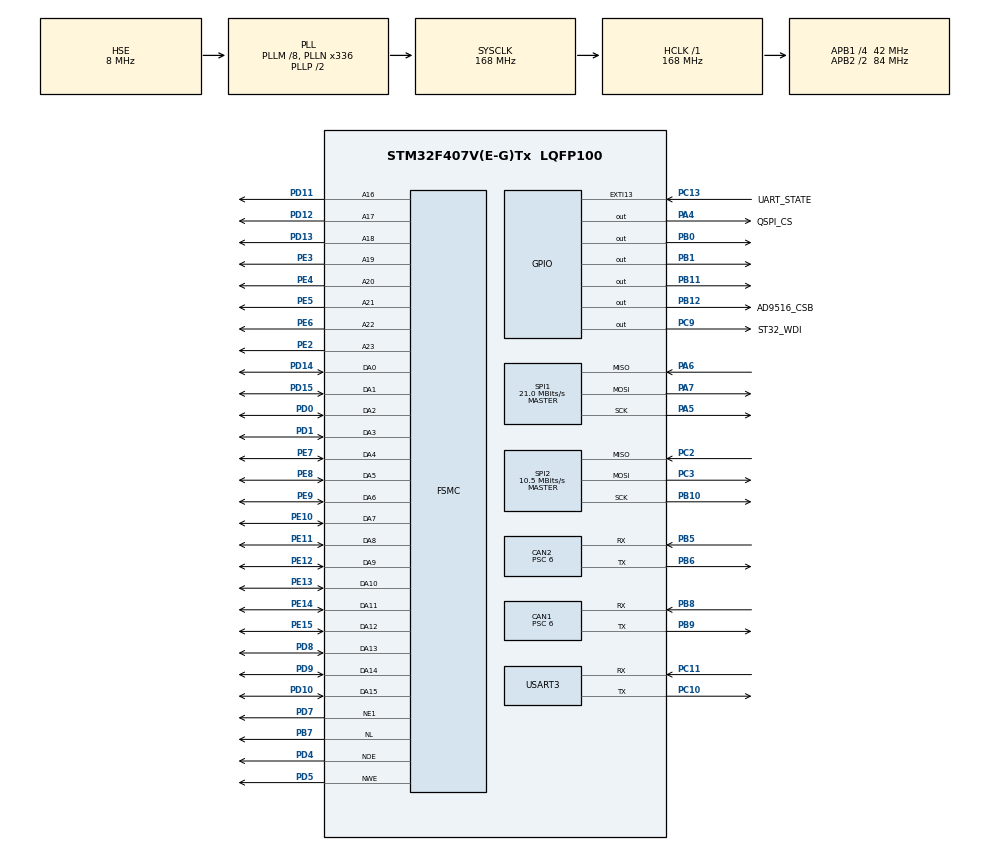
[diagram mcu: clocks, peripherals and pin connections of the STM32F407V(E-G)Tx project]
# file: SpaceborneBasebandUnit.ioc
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CAN1.ABOM=DISABLE
CAN1.BS1=CAN_BS1_7TQ
CAN1.BS2=CAN_BS2_6TQ
CAN1.CalculateBaudRate=500000
CAN1.CalculateTimeBit=2000
CAN1.CalculateTimeQuantum=142.85714285714286
CAN1.Prescaler=6
CAN1.SJW=CAN_SJW_1TQ
CAN1.TTCM=DISABLE
CAN2.BS1=CAN_BS1_7TQ
CAN2.BS2=CAN_BS2_6TQ
CAN2.CalculateBaudRate=500000
CAN2.CalculateTimeBit=2000
CAN2.CalculateTimeQuantum=142.85714285714286
CAN2.Prescaler=6
Dma.Request0=SPI2_RX
Dma.Request1=SPI1_RX
Dma.Request2=USART3_TX
Dma.Request3=USART3_RX
Dma.SPI1_RX.1.Direction=DMA_PERIPH_TO_MEMORY
Dma.SPI1_RX.1.FIFOMode=DMA_FIFOMODE_DISABLE
Dma.SPI1_RX.1.Instance=DMA2_Stream0
Dma.SPI1_RX.1.MemDataAlignment=DMA_MDATAALIGN_BYTE
Dma.SPI1_RX.1.MemInc=DMA_MINC_ENABLE
Dma.SPI1_RX.1.Mode=DMA_CIRCULAR
Dma.SPI1_RX.1.PeriphDataAlignment=DMA_PDATAALIGN_BYTE
Dma.SPI1_RX.1.PeriphInc=DMA_PINC_DISABLE
Dma.SPI1_RX.1.Priority=DMA_PRIORITY_LOW
Dma.SPI2_RX.0.Direction=DMA_PERIPH_TO_MEMORY
Dma.SPI2_RX.0.FIFOMode=DMA_FIFOMODE_DISABLE
Dma.SPI2_RX.0.Instance=DMA1_Stream3
Dma.SPI2_RX.0.MemDataAlignment=DMA_MDATAALIGN_BYTE
Dma.SPI2_RX.0.MemInc=DMA_MINC_ENABLE
Dma.SPI2_RX.0.Mode=DMA_CIRCULAR
Dma.SPI2_RX.0.PeriphDataAlignment=DMA_PDATAALIGN_BYTE
Dma.SPI2_RX.0.PeriphInc=DMA_PINC_DISABLE
Dma.SPI2_RX.0.Priority=DMA_PRIORITY_LOW
Dma.USART3_RX.3.Direction=DMA_PERIPH_TO_MEMORY
Dma.USART3_RX.3.FIFOMode=DMA_FIFOMODE_ENABLE
Dma.USART3_RX.3.FIFOThreshold=DMA_FIFO_THRESHOLD_FULL
Dma.USART3_RX.3.Instance=DMA1_Stream1
Dma.USART3_RX.3.MemBurst=DMA_MBURST_SINGLE
Dma.USART3_RX.3.MemDataAlignment=DMA_MDATAALIGN_BYTE
Dma.USART3_RX.3.MemInc=DMA_MINC_ENABLE
Dma.USART3_RX.3.Mode=DMA_NORMAL
Dma.USART3_RX.3.PeriphBurst=DMA_PBURST_SINGLE
Dma.USART3_RX.3.PeriphDataAlignment=DMA_PDATAALIGN_BYTE
Dma.USART3_RX.3.PeriphInc=DMA_PINC_DISABLE
Dma.USART3_RX.3.Priority=DMA_PRIORITY_LOW
Dma.USART3_TX.2.Direction=DMA_MEMORY_TO_PERIPH
Dma.USART3_TX.2.FIFOMode=DMA_FIFOMODE_ENABLE
Dma.USART3_TX.2.FIFOThreshold=DMA_FIFO_THRESHOLD_FULL
Dma.USART3_TX.2.Instance=DMA1_Stream4
Dma.USART3_TX.2.MemBurst=DMA_MBURST_SINGLE
Dma.USART3_TX.2.MemDataAlignment=DMA_MDATAALIGN_BYTE
Dma.USART3_TX.2.MemInc=DMA_MINC_ENABLE
Dma.USART3_TX.2.Mode=DMA_NORMAL
Dma.USART3_TX.2.PeriphBurst=DMA_PBURST_SINGLE
Dma.USART3_TX.2.PeriphDataAlignment=DMA_PDATAALIGN_BYTE
Dma.USART3_TX.2.PeriphInc=DMA_PINC_DISABLE
Dma.USART3_TX.2.Priority=DMA_PRIORITY_LOW
FSMC.AddressHoldTime1=2
FSMC.AddressSetupTime1=4
FSMC.BusTurnAroundDuration1=7
FSMC.DataSetupTime1=15
FSMC.NSMemoryDataWidth1=FSMC_NORSRAM_MEM_BUS_WIDTH_16
FSMC.WriteOperation1=FSMC_WRITE_OPERATION_ENABLE
Mcu.Family=STM32F4
Mcu.Name=STM32F407V(E-G)Tx
Mcu.Package=LQFP100
NVIC.CAN1_RX0_IRQn=true\:0\:0\:false\:true\:true\:1\:true\:true\:true
NVIC.CAN2_RX1_IRQn=true\:0\:0\:false\:true\:true\:4\:true\:true\:true
NVIC.DMA1_Stream1_IRQn=true\:0\:0\:false\:false\:true\:false\:true\:true
NVIC.DMA1_Stream3_IRQn=true\:0\:0\:false\:true\:true\:2\:false\:true\:true
NVIC.DMA1_Stream4_IRQn=true\:0\:0\:false\:false\:true\:false\:true\:true
NVIC.DMA2_Stream0_IRQn=true\:0\:0\:false\:true\:true\:3\:false\:true\:true
NVIC.EXTI15_10_IRQn=true\:0\:0\:false\:true\:true\:7\:true\:true\:true
NVIC.PriorityGroup=NVIC_PRIORITYGROUP_4
NVIC.RCC_IRQn=true\:0\:0\:false\:true\:true\:6\:true\:false\:true
NVIC.USART3_IRQn=true\:0\:0\:false\:true\:true\:5\:true\:true\:true
PA13.Mode=Serial_Wire
PA13.Signal=SYS_JTMS-SWDIO
PA14.Mode=Serial_Wire
PA14.Signal=SYS_JTCK-SWCLK
PA4.GPIO_Label=QSPI_CS
PA4.PinState=GPIO_PIN_SET
PA4.Signal=GPIO_Output
PA5.Mode=Full_Duplex_Master
PA5.Signal=SPI1_SCK
PA6.Mode=Full_Duplex_Master
PA6.Signal=SPI1_MISO
PA7.Mode=Full_Duplex_Master
PA7.Signal=SPI1_MOSI
PB0.Signal=GPIO_Output
PB1.Signal=GPIO_Output
PB10.Mode=Full_Duplex_Master
PB10.Signal=SPI2_SCK
PB11.Signal=GPIO_Output
PB12.GPIO_Label=AD9516_CSB
PB12.PinState=GPIO_PIN_SET
PB12.Signal=GPIO_Output
PB5.Mode=CAN_Activate
PB5.Signal=CAN2_RX
PB6.Mode=CAN_Activate
PB6.Signal=CAN2_TX
PB7.Signal=FSMC_NL
PB8.Mode=CAN_Activate
PB8.Signal=CAN1_RX
PB9.Mode=CAN_Activate
PB9.Signal=CAN1_TX
PC10.Mode=Asynchronous
PC10.Signal=USART3_TX
PC11.Mode=Asynchronous
PC11.Signal=USART3_RX
PC13-ANTI_TAMP.GPIO_Label=UART_STATE
PC13-ANTI_TAMP.Signal=GPXTI13
PC14-OSC32_IN.Mode=LSE-External-Oscillator
PC14-OSC32_IN.Signal=RCC_OSC32_IN
PC15-OSC32_OUT.Mode=LSE-External-Oscillator
PC15-OSC32_OUT.Signal=RCC_OSC32_OUT
PC2.Mode=Full_Duplex_Master
PC2.Signal=SPI2_MISO
PC3.Mode=Full_Duplex_Master
PC3.Signal=SPI2_MOSI
PC9.GPIO_Label=ST32_WDI
PC9.Signal=GPIO_Output
PD0.Mode=24b-da1
PD0.Signal=FSMC_DA2
PD1.Mode=24b-da1
PD1.Signal=FSMC_DA3
PD10.Mode=24b-da1
PD10.Signal=FSMC_DA15
PD11.Mode=24b-da1
PD11.Signal=FSMC_A16
PD12.Mode=24b-da1
PD12.Signal=FSMC_A17
PD13.Mode=24b-da1
PD13.Signal=FSMC_A18
PD14.Mode=24b-da1
PD14.Signal=FSMC_DA0
PD15.Mode=24b-da1
PD15.Signal=FSMC_DA1
PD4.Mode=MuxedPsram1
PD4.Signal=FSMC_NOE
PD5.Mode=MuxedPsram1
PD5.Signal=FSMC_NWE
PD7.Mode=NorPsramChipSelect1_1
PD7.Signal=FSMC_NE1
PD8.Mode=24b-da1
PD8.Signal=FSMC_DA13
PD9.Mode=24b-da1
PD9.Signal=FSMC_DA14
PE10.Mode=24b-da1
PE10.Signal=FSMC_DA7
PE11.Mode=24b-da1
PE11.Signal=FSMC_DA8
PE12.Mode=24b-da1
PE12.Signal=FSMC_DA9
PE13.Mode=24b-da1
PE13.Signal=FSMC_DA10
PE14.Mode=24b-da1
PE14.Signal=FSMC_DA11
PE15.Mode=24b-da1
PE15.Signal=FSMC_DA12
PE2.Mode=24b-da1
PE2.Signal=FSMC_A23
PE3.Mode=24b-da1
PE3.Signal=FSMC_A19
PE4.Mode=24b-da1
PE4.Signal=FSMC_A20
PE5.Mode=24b-da1
PE5.Signal=FSMC_A21
PE6.Mode=24b-da1
PE6.Signal=FSMC_A22
PE7.Mode=24b-da1
PE7.Signal=FSMC_DA4
PE8.Mode=24b-da1
PE8.Signal=FSMC_DA5
PE9.Mode=24b-da1
PE9.Signal=FSMC_DA6
PH0-OSC_IN.Mode=HSE-External-Oscillator
PH0-OSC_IN.Signal=RCC_OSC_IN
PH1-OSC_OUT.Mode=HSE-External-Oscillator
PH1-OSC_OUT.Signal=RCC_OSC_OUT
ProjectManager.HeapSize=0x200
ProjectManager.StackSize=0x400
ProjectManager.TargetToolchain=MDK-ARM V5
RCC.48MHZClocksFreq_Value=84000000
RCC.AHBFreq_Value=168000000
RCC.APB1CLKDivider=RCC_HCLK_DIV4
RCC.APB1Freq_Value=42000000
RCC.APB1TimFreq_Value=84000000
RCC.APB2CLKDivider=RCC_HCLK_DIV2
RCC.APB2Freq_Value=84000000
RCC.APB2TimFreq_Value=168000000
RCC.CortexFreq_Value=168000000
RCC.HCLKFreq_Value=168000000
RCC.HSE_VALUE=8000000
RCC.HSI_VALUE=16000000
RCC.PLLM=8
RCC.PLLN=336
RCC.PLLSourceVirtual=RCC_PLLSOURCE_HSE
RCC.SYSCLKFreq_VALUE=168000000
RCC.SYSCLKSource=RCC_SYSCLKSOURCE_PLLCLK
RCC.VCOOutputFreq_Value=336000000
SH.FSMC_NL.0=FSMC_NL,AddressValid1
SPI1.BaudRatePrescaler=SPI_BAUDRATEPRESCALER_4
SPI1.CLKPhase=SPI_PHASE_2EDGE
SPI1.CLKPolarity=SPI_POLARITY_HIGH
SPI1.CalculateBaudRate=21.0 MBits/s
SPI1.Direction=SPI_DIRECTION_2LINES
SPI1.Mode=SPI_MODE_MASTER
SPI1.VirtualType=VM_MASTER
SPI2.BaudRatePrescaler=SPI_BAUDRATEPRESCALER_4
SPI2.CLKPhase=SPI_PHASE_2EDGE
SPI2.CLKPolarity=SPI_POLARITY_HIGH
SPI2.CalculateBaudRate=10.5 MBits/s
SPI2.DataSize=SPI_DATASIZE_8BIT
SPI2.Direction=SPI_DIRECTION_2LINES
SPI2.Mode=SPI_MODE_MASTER
SPI2.VirtualType=VM_MASTER
USART3.VirtualMode=VM_ASYNC
board=custom

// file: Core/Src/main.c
/* USER CODE BEGIN Header */
/**
  ******************************************************************************
  * @file           : main.c
  * @brief          : Main program body
  ******************************************************************************
  * @attention
  *
  * Copyright (c) 2023 STMicroelectronics.
  * All rights reserved.
  *
  * This software is licensed under terms that can be found in the LICENSE file
  * in the root directory of this software component.
  * If no LICENSE file comes with this software, it is provided AS-IS.
  *
  ******************************************************************************
  */
/* USER CODE END Header */
#include "main.h"

/* USER CODE BEGIN Includes */
#include "can.h"
#include "cs25wq256.h"
#include "spi.h"
#include "ad9517.h"
#include "fpga_fsmc.h"
/* USER CODE END Includes */

CAN_HandleTypeDef hcan1;
CAN_HandleTypeDef hcan2;

SPI_HandleTypeDef hspi1;
SPI_HandleTypeDef hspi2;
DMA_HandleTypeDef hdma_spi1_rx;
DMA_HandleTypeDef hdma_spi2_rx;

UART_HandleTypeDef huart3;
DMA_HandleTypeDef hdma_usart3_tx;
DMA_HandleTypeDef hdma_usart3_rx;

SRAM_HandleTypeDef hsram1;

/* USER CODE BEGIN PV */
CAN_TxHeaderTypeDef	CAN1TxHeader;      //CAN1发送结构体
CAN_TxHeaderTypeDef	CAN2TxHeader;      //CAN2发送结构体
CAN_RxHeaderTypeDef	CAN1RxHeader;      //CAN1接收结构体
CAN_RxHeaderTypeDef	CAN2RxHeader;      //CAN2接收结构体
u8	CAN1TxData[8];    //CAN1发送的数据
u8	CAN2TxData[8];    //CAN2发送的数据
u8	CAN1RxData[8];    //CAN1接收的数据
u8	CAN2RxData[8];    //CAN2接收的数据
u16 data16_gl;
u8 cnt;
uint8_t rx_buffer[BUF_SIZE];  // BUF_SIZE

ad9517_dev *AD9516_1_DEV;

ad9517_init_param ad9516_param;

ad9517_platform_data ad9516_pdata;  //用于给ad9516_param结构体传递地址

/* 创建ad9516的6个lvpecl通道结构体数组 */
ad9517_lvpecl_channel_spec ad9516_lvpecl_channel[6];

/* 创建ad9516的4个lvds通道结构体数组 */
ad9517_lvds_cmos_channel_spec ad9516_lvds_channel[4];

//要写入到CS25WQXX的字符串数组
const u8 TEXT_Buffer[]={"Explorer STM32F4 SPI TEST"};
#define Buffer_SIZE sizeof(TEXT_Buffer)

int timer_500ms_flag; //滴答定时器500ms计时标志位
int timer_1s_flag; //滴答定时器1s计时标志位
int uart_state_flag;  //刷新芯片uart state状态管脚

/* USER CODE END PV */

void SystemClock_Config(void);
static void MX_GPIO_Init(void);
static void MX_DMA_Init(void);
static void MX_CAN1_Init(void);
static void MX_CAN2_Init(void);
static void MX_FSMC_Init(void);
static void MX_SPI1_Init(void);
static void MX_SPI2_Init(void);
static void MX_USART3_UART_Init(void);
static void MX_NVIC_Init(void);

/* USER CODE BEGIN 0 */
void HAL_UARTEx_RxEventCallback(UART_HandleTypeDef *huart, uint16_t Size)
{
    if (huart->Instance == USART3)
    {
        cnt = BUF_SIZE - __HAL_DMA_GET_COUNTER(&hdma_usart3_rx);
        //HAL_UART_Transmit(&huart1, rx_buffer, cnt, 0xffff);	//?????????????
        memset(rx_buffer, 0, cnt);
    }
}

/* USER CODE END 0 */

int main(void)
{
  /* USER CODE BEGIN 1 */
  u32 res;
  u16 id = 0;
  u32 FLASH_SIZE;
  u8 datatemp[Buffer_SIZE];
  u8 index;
  uint16_t data16 = 0x55aa;
	uint32_t dataaddr = 0x05a5a5;
  /* USER CODE END 1 */

  /* MCU Configuration--------------------------------------------------------*/

  /* Reset of all peripherals, Initializes the Flash interface and the Systick. */
  HAL_Init();

  /* Configure the system clock */
  SystemClock_Config();

  /* Initialize all configured peripherals */
  MX_GPIO_Init();
  MX_DMA_Init();
  MX_CAN1_Init();
  MX_CAN2_Init();
  MX_FSMC_Init();
  MX_SPI1_Init();
  MX_SPI2_Init();
  MX_USART3_UART_Init();

  /* Initialize interrupts */
  MX_NVIC_Init();
  /* USER CODE BEGIN 2 */
	HAL_GPIO_WritePin(GPIOB, GPIO_PIN_0, GPIO_PIN_SET);
	HAL_GPIO_WritePin(GPIOB, GPIO_PIN_1, GPIO_PIN_SET);
	/* CAN初始化 */
	CAN1_Config(&hcan1,&CAN1TxHeader,CAN_RX_FIFO0,CAN_IT_RX_FIFO0_MSG_PENDING);
	CAN2_Config(&hcan2,&CAN2TxHeader,CAN_RX_FIFO1,CAN_IT_RX_FIFO1_MSG_PENDING);
	FLASH_SIZE=32*1024*1024;	  //FLASH 大小为32M字节
	/* 增加延时等待AD9516上电过程结束 */
	for (res = 0; res <500; ++res)
		{
		delay_ms(10000);
		}
	res = 0;

  /* AD9516_1初始化 */
	//1.参数初始化
	res = ad9156_parameter_initialize(&hspi2, &ad9516_param, &ad9516_pdata, ad9516_lvpecl_channel, ad9516_lvds_channel);
	//2.传递参数
	res = ad9517_setup( &AD9516_1_DEV, ad9516_param);
	if (res != 0)
		{
		return -1;
		}
	//3.配置VCO
	res = ad9517_frequency(AD9516_1_DEV, AD9516_channel_0, 62000000);
	res = ad9517_frequency(AD9516_1_DEV, AD9516_channel_2, 248000000);
	res = ad9517_frequency(AD9516_1_DEV, AD9516_channel_6, 248000000);
	//4.配置通道输出
	res = ad9517_power_mode(AD9516_1_DEV, AD9516_channel_0, Normal_operation);
	res = ad9517_power_mode(AD9516_1_DEV, AD9516_channel_1, Safe_LVPECL_power_down);
	res = ad9517_power_mode(AD9516_1_DEV, AD9516_channel_2, Normal_operation);
	res = ad9517_power_mode(AD9516_1_DEV, AD9516_channel_3, Safe_LVPECL_power_down);
	res = ad9517_power_mode(AD9516_1_DEV, AD9516_channel_4, Safe_LVPECL_power_down);
	res = ad9517_power_mode(AD9516_1_DEV, AD9516_channel_5, Safe_LVPECL_power_down);
	res = ad9517_power_mode(AD9516_1_DEV, AD9516_channel_6, Power_off);
	res = ad9517_power_mode(AD9516_1_DEV, AD9516_channel_7, Power_off);
	res = ad9517_power_mode(AD9516_1_DEV, AD9516_channel_8, Power_off);
	res = ad9517_power_mode(AD9516_1_DEV, AD9516_channel_9, Power_off);
	//5.更新所有寄存器
	res = ad9517_update(AD9516_1_DEV);

  /* USER CODE END 2 */

  /* Infinite loop */
  /* USER CODE BEGIN WHILE */
	/* QSPI Flash初始化 */
	CS25WQXX_Init(&hspi1);
	/* 读取ID */
	id = CS25WQXX_ReadID(&hspi1);

	/* QSPI Flash测试 */
	CS25WQXX_Write(&hspi1,(u8*)TEXT_Buffer,FLASH_SIZE-100,Buffer_SIZE);		//从倒数第100个地址处开始,写入SIZE长度的数据
	CS25WQXX_Read(&hspi1,datatemp,FLASH_SIZE-100,Buffer_SIZE);   //读取FLASH

	/* CAN读写测试 */
	for (index = 0; index < 8; ++index)
		{
		CAN2TxData[index] = 0xa + index;
		CAN1TxData[index] = 0x5 + index;
		}
	//res = CAN_Send_Msg(&hcan1,&CAN1TxHeader,CAN1TxData,8);//CAN1发送8个字节
	//res = CAN_Send_Msg(&hcan2,&CAN2TxHeader,CAN2TxData,8);//CAN2发送8个字节

	while (1)
	{
		if (timer_500ms_flag)
			{
			HAL_GPIO_TogglePin(ST32_WDI_GPIO_Port, ST32_WDI_Pin); //1秒喂狗
			timer_500ms_flag = 0;
			}
		if (timer_1s_flag)
			{
			HAL_GPIO_TogglePin(GPIOB, GPIO_PIN_0); //状态指示灯闪烁
			HAL_GPIO_TogglePin(GPIOB, GPIO_PIN_1); //状态指示灯闪烁
			timer_1s_flag = 0;
			dataaddr = 0x5a5a5;
			if(data16_gl == 0xaaaa || data16 == 0xaaaa)
				{
				data16 = 0xaaaa;
				wr_fpga_reg(dataaddr, data16);	//fsmc写测试
				}
				else
				{
				data16 = 0x5555;
				wr_fpga_reg(dataaddr, data16);	//fsmc写测试
				}
			dataaddr = 0xa5a5a;
			data16_gl = rd_fpga_reg(dataaddr);	//fsmc读测试
			}
		if (uart_state_flag)
			{
			//刷新芯片uart state引脚输入
			uart_state_flag = 0;
			}
    /* USER CODE END WHILE */

  }
}

void SystemClock_Config(void)
{
  RCC_OscInitTypeDef RCC_OscInitStruct = {0};
  RCC_ClkInitTypeDef RCC_ClkInitStruct = {0};

  /** Configure the main internal regulator output voltage
  */
  __HAL_RCC_PWR_CLK_ENABLE();
  __HAL_PWR_VOLTAGESCALING_CONFIG(PWR_REGULATOR_VOLTAGE_SCALE1);

  /** Initializes the RCC Oscillators according to the specified parameters
  * in the RCC_OscInitTypeDef structure.
  */
  RCC_OscInitStruct.OscillatorType = RCC_OSCILLATORTYPE_HSE;
  RCC_OscInitStruct.HSEState = RCC_HSE_ON;
  RCC_OscInitStruct.PLL.PLLState = RCC_PLL_ON;
  RCC_OscInitStruct.PLL.PLLSource = RCC_PLLSOURCE_HSE;
  RCC_OscInitStruct.PLL.PLLM = 8;
  RCC_OscInitStruct.PLL.PLLN = 336;
  RCC_OscInitStruct.PLL.PLLP = RCC_PLLP_DIV2;
  RCC_OscInitStruct.PLL.PLLQ = 4;
  if (HAL_RCC_OscConfig(&RCC_OscInitStruct) != HAL_OK)
  {
    Error_Handler();
  }

  /** Initializes the CPU, AHB and APB buses clocks
  */
  RCC_ClkInitStruct.ClockType = RCC_CLOCKTYPE_HCLK|RCC_CLOCKTYPE_SYSCLK
                              |RCC_CLOCKTYPE_PCLK1|RCC_CLOCKTYPE_PCLK2;
  RCC_ClkInitStruct.SYSCLKSource = RCC_SYSCLKSOURCE_PLLCLK;
  RCC_ClkInitStruct.AHBCLKDivider = RCC_SYSCLK_DIV1;
  RCC_ClkInitStruct.APB1CLKDivider = RCC_HCLK_DIV4;
  RCC_ClkInitStruct.APB2CLKDivider = RCC_HCLK_DIV2;

  if (HAL_RCC_ClockConfig(&RCC_ClkInitStruct, FLASH_LATENCY_5) != HAL_OK)
  {
    Error_Handler();
  }
}

/**
  * @brief NVIC Configuration.
  * @retval None
  */
static void MX_NVIC_Init(void)
{
  /* CAN1_RX0_IRQn interrupt configuration */
  HAL_NVIC_SetPriority(CAN1_RX0_IRQn, 0, 0);
  HAL_NVIC_EnableIRQ(CAN1_RX0_IRQn);
  /* DMA1_Stream3_IRQn interrupt configuration */
  HAL_NVIC_SetPriority(DMA1_Stream3_IRQn, 0, 0);
  HAL_NVIC_EnableIRQ(DMA1_Stream3_IRQn);
  /* DMA2_Stream0_IRQn interrupt configuration */
  HAL_NVIC_SetPriority(DMA2_Stream0_IRQn, 0, 0);
  HAL_NVIC_EnableIRQ(DMA2_Stream0_IRQn);
  /* CAN2_RX1_IRQn interrupt configuration */
  HAL_NVIC_SetPriority(CAN2_RX1_IRQn, 0, 0);
  HAL_NVIC_EnableIRQ(CAN2_RX1_IRQn);
  /* USART3_IRQn interrupt configuration */
  HAL_NVIC_SetPriority(USART3_IRQn, 0, 0);
  HAL_NVIC_EnableIRQ(USART3_IRQn);
  /* RCC_IRQn interrupt configuration */
  HAL_NVIC_SetPriority(RCC_IRQn, 0, 0);
  HAL_NVIC_EnableIRQ(RCC_IRQn);
  /* EXTI15_10_IRQn interrupt configuration */
  HAL_NVIC_SetPriority(EXTI15_10_IRQn, 0, 0);
  HAL_NVIC_EnableIRQ(EXTI15_10_IRQn);
}

static void MX_CAN1_Init(void)
{

  hcan1.Instance = CAN1;
  hcan1.Init.Prescaler = 6;
  hcan1.Init.Mode = CAN_MODE_NORMAL;
  hcan1.Init.SyncJumpWidth = CAN_SJW_1TQ;
  hcan1.Init.TimeSeg1 = CAN_BS1_7TQ;
  hcan1.Init.TimeSeg2 = CAN_BS2_6TQ;
  hcan1.Init.TimeTriggeredMode = DISABLE;
  hcan1.Init.AutoBusOff = DISABLE;
  hcan1.Init.AutoWakeUp = DISABLE;
  hcan1.Init.AutoRetransmission = DISABLE;
  hcan1.Init.ReceiveFifoLocked = DISABLE;
  hcan1.Init.TransmitFifoPriority = DISABLE;
  if (HAL_CAN_Init(&hcan1) != HAL_OK)
  {
    Error_Handler();
  }

}

static void MX_CAN2_Init(void)
{

  hcan2.Instance = CAN2;
  hcan2.Init.Prescaler = 6;
  hcan2.Init.Mode = CAN_MODE_NORMAL;
  hcan2.Init.SyncJumpWidth = CAN_SJW_1TQ;
  hcan2.Init.TimeSeg1 = CAN_BS1_7TQ;
  hcan2.Init.TimeSeg2 = CAN_BS2_6TQ;
  hcan2.Init.TimeTriggeredMode = DISABLE;
  hcan2.Init.AutoBusOff = DISABLE;
  hcan2.Init.AutoWakeUp = DISABLE;
  hcan2.Init.AutoRetransmission = DISABLE;
  hcan2.Init.ReceiveFifoLocked = DISABLE;
  hcan2.Init.TransmitFifoPriority = DISABLE;
  if (HAL_CAN_Init(&hcan2) != HAL_OK)
  {
    Error_Handler();
  }

}

static void MX_SPI1_Init(void)
{

  /* SPI1 parameter configuration*/
  hspi1.Instance = SPI1;
  hspi1.Init.Mode = SPI_MODE_MASTER;
  hspi1.Init.Direction = SPI_DIRECTION_2LINES;
  hspi1.Init.DataSize = SPI_DATASIZE_8BIT;
  hspi1.Init.CLKPolarity = SPI_POLARITY_HIGH;
  hspi1.Init.CLKPhase = SPI_PHASE_2EDGE;
  hspi1.Init.NSS = SPI_NSS_SOFT;
  hspi1.Init.BaudRatePrescaler = SPI_BAUDRATEPRESCALER_4;
  hspi1.Init.FirstBit = SPI_FIRSTBIT_MSB;
  hspi1.Init.TIMode = SPI_TIMODE_DISABLE;
  hspi1.Init.CRCCalculation = SPI_CRCCALCULATION_DISABLE;
  hspi1.Init.CRCPolynomial = 10;
  if (HAL_SPI_Init(&hspi1) != HAL_OK)
  {
    Error_Handler();
  }

}

static void MX_SPI2_Init(void)
{

  /* SPI2 parameter configuration*/
  hspi2.Instance = SPI2;
  hspi2.Init.Mode = SPI_MODE_MASTER;
  hspi2.Init.Direction = SPI_DIRECTION_2LINES;
  hspi2.Init.DataSize = SPI_DATASIZE_8BIT;
  hspi2.Init.CLKPolarity = SPI_POLARITY_HIGH;
  hspi2.Init.CLKPhase = SPI_PHASE_2EDGE;
  hspi2.Init.NSS = SPI_NSS_SOFT;
  hspi2.Init.BaudRatePrescaler = SPI_BAUDRATEPRESCALER_4;
  hspi2.Init.FirstBit = SPI_FIRSTBIT_MSB;
  hspi2.Init.TIMode = SPI_TIMODE_DISABLE;
  hspi2.Init.CRCCalculation = SPI_CRCCALCULATION_DISABLE;
  hspi2.Init.CRCPolynomial = 10;
  if (HAL_SPI_Init(&hspi2) != HAL_OK)
  {
    Error_Handler();
  }

}

static void MX_USART3_UART_Init(void)
{

  huart3.Instance = USART3;
  huart3.Init.BaudRate = 115200;
  huart3.Init.WordLength = UART_WORDLENGTH_8B;
  huart3.Init.StopBits = UART_STOPBITS_1;
  huart3.Init.Parity = UART_PARITY_NONE;
  huart3.Init.Mode = UART_MODE_TX_RX;
  huart3.Init.HwFlowCtl = UART_HWCONTROL_NONE;
  huart3.Init.OverSampling = UART_OVERSAMPLING_16;
  if (HAL_UART_Init(&huart3) != HAL_OK)
  {
    Error_Handler();
  }

}

static void MX_DMA_Init(void)
{

  /* DMA controller clock enable */
  __HAL_RCC_DMA1_CLK_ENABLE();
  __HAL_RCC_DMA2_CLK_ENABLE();

  /* DMA interrupt init */
  /* DMA1_Stream1_IRQn interrupt configuration */
  HAL_NVIC_SetPriority(DMA1_Stream1_IRQn, 0, 0);
  HAL_NVIC_EnableIRQ(DMA1_Stream1_IRQn);
  /* DMA1_Stream4_IRQn interrupt configuration */
  HAL_NVIC_SetPriority(DMA1_Stream4_IRQn, 0, 0);
  HAL_NVIC_EnableIRQ(DMA1_Stream4_IRQn);

}

static void MX_GPIO_Init(void)
{
  GPIO_InitTypeDef GPIO_InitStruct = {0};

  /* GPIO Ports Clock Enable */
  __HAL_RCC_GPIOE_CLK_ENABLE();
  __HAL_RCC_GPIOC_CLK_ENABLE();
  __HAL_RCC_GPIOH_CLK_ENABLE();
  __HAL_RCC_GPIOA_CLK_ENABLE();
  __HAL_RCC_GPIOB_CLK_ENABLE();
  __HAL_RCC_GPIOD_CLK_ENABLE();

  /*Configure GPIO pin Output Level */
  HAL_GPIO_WritePin(QSPI_CS_GPIO_Port, QSPI_CS_Pin, GPIO_PIN_SET);

  /*Configure GPIO pin Output Level */
  HAL_GPIO_WritePin(GPIOB, GPIO_PIN_0|GPIO_PIN_1|GPIO_PIN_11, GPIO_PIN_RESET);

  /*Configure GPIO pin Output Level */
  HAL_GPIO_WritePin(AD9516_CSB_GPIO_Port, AD9516_CSB_Pin, GPIO_PIN_SET);

  /*Configure GPIO pin Output Level */
  HAL_GPIO_WritePin(ST32_WDI_GPIO_Port, ST32_WDI_Pin, GPIO_PIN_RESET);

  /*Configure GPIO pin : UART_STATE_Pin */
  GPIO_InitStruct.Pin = UART_STATE_Pin;
  GPIO_InitStruct.Mode = GPIO_MODE_IT_RISING;
  GPIO_InitStruct.Pull = GPIO_NOPULL;
  HAL_GPIO_Init(UART_STATE_GPIO_Port, &GPIO_InitStruct);

  /*Configure GPIO pin : QSPI_CS_Pin */
  GPIO_InitStruct.Pin = QSPI_CS_Pin;
  GPIO_InitStruct.Mode = GPIO_MODE_OUTPUT_PP;
  GPIO_InitStruct.Pull = GPIO_NOPULL;
  GPIO_InitStruct.Speed = GPIO_SPEED_FREQ_LOW;
  HAL_GPIO_Init(QSPI_CS_GPIO_Port, &GPIO_InitStruct);

  /*Configure GPIO pins : PB0 PB1 PB11 AD9516_CSB_Pin */
  GPIO_InitStruct.Pin = GPIO_PIN_0|GPIO_PIN_1|GPIO_PIN_11|AD9516_CSB_Pin;
  GPIO_InitStruct.Mode = GPIO_MODE_OUTPUT_PP;
  GPIO_InitStruct.Pull = GPIO_NOPULL;
  GPIO_InitStruct.Speed = GPIO_SPEED_FREQ_LOW;
  HAL_GPIO_Init(GPIOB, &GPIO_InitStruct);

  /*Configure GPIO pin : ST32_WDI_Pin */
  GPIO_InitStruct.Pin = ST32_WDI_Pin;
  GPIO_InitStruct.Mode = GPIO_MODE_OUTPUT_PP;
  GPIO_InitStruct.Pull = GPIO_NOPULL;
  GPIO_InitStruct.Speed = GPIO_SPEED_FREQ_LOW;
  HAL_GPIO_Init(ST32_WDI_GPIO_Port, &GPIO_InitStruct);

}

/* FSMC initialization function */
static void MX_FSMC_Init(void)
{

  FSMC_NORSRAM_TimingTypeDef Timing = {0};

  /** Perform the SRAM1 memory initialization sequence
  */
  hsram1.Instance = FSMC_NORSRAM_DEVICE;
  hsram1.Extended = FSMC_NORSRAM_EXTENDED_DEVICE;
  /* hsram1.Init */
  hsram1.Init.NSBank = FSMC_NORSRAM_BANK1;
  hsram1.Init.DataAddressMux = FSMC_DATA_ADDRESS_MUX_ENABLE;
  hsram1.Init.MemoryType = FSMC_MEMORY_TYPE_PSRAM;
  hsram1.Init.MemoryDataWidth = FSMC_NORSRAM_MEM_BUS_WIDTH_16;
  hsram1.Init.BurstAccessMode = FSMC_BURST_ACCESS_MODE_DISABLE;
  hsram1.Init.WaitSignalPolarity = FSMC_WAIT_SIGNAL_POLARITY_LOW;
  hsram1.Init.WrapMode = FSMC_WRAP_MODE_DISABLE;
  hsram1.Init.WaitSignalActive = FSMC_WAIT_TIMING_BEFORE_WS;
  hsram1.Init.WriteOperation = FSMC_WRITE_OPERATION_ENABLE;
  hsram1.Init.WaitSignal = FSMC_WAIT_SIGNAL_DISABLE;
  hsram1.Init.ExtendedMode = FSMC_EXTENDED_MODE_DISABLE;
  hsram1.Init.AsynchronousWait = FSMC_ASYNCHRONOUS_WAIT_DISABLE;
  hsram1.Init.WriteBurst = FSMC_WRITE_BURST_DISABLE;
  hsram1.Init.PageSize = FSMC_PAGE_SIZE_NONE;
  /* Timing */
  Timing.AddressSetupTime = 4;
  Timing.AddressHoldTime = 2;
  Timing.DataSetupTime = 15;
  Timing.BusTurnAroundDuration = 7;
  Timing.CLKDivision = 16;
  Timing.DataLatency = 17;
  Timing.AccessMode = FSMC_ACCESS_MODE_A;
  /* ExtTiming */

  if (HAL_SRAM_Init(&hsram1, &Timing, NULL) != HAL_OK)
  {
    Error_Handler( );
  }

}

void Error_Handler(void)
{
  __disable_irq();
  while (1)
  {
  }
}
